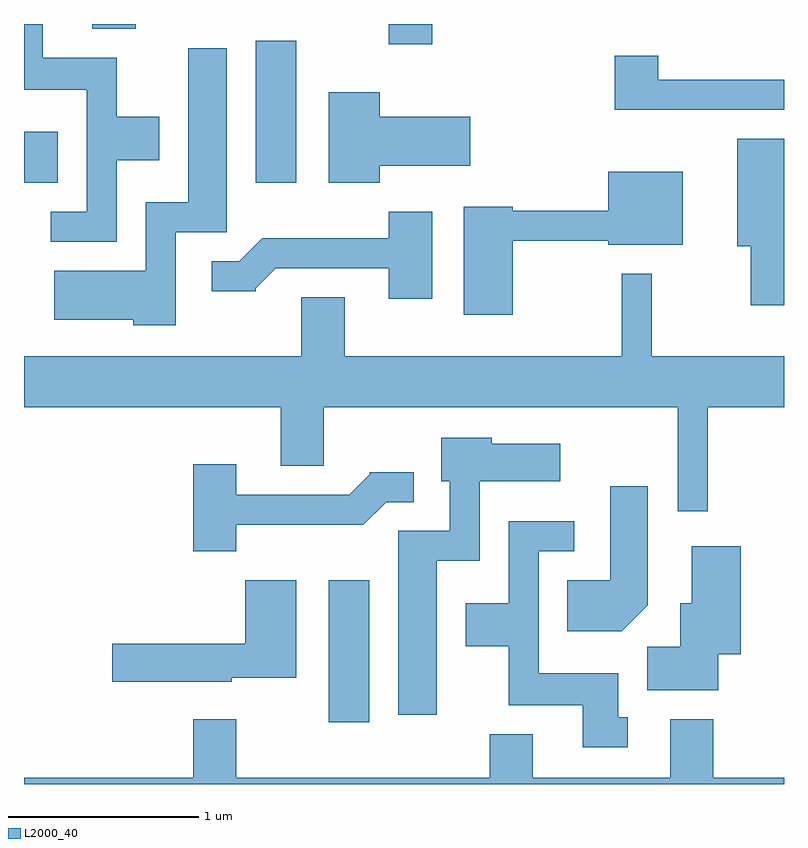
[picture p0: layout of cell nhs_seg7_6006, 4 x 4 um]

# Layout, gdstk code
import gdstk
lib = gdstk.Library(unit=1e-6, precision=1e-09)
def R(c, l, rs):  # rectangles x0, y0, x1, y1
    for r in rs: c.add(gdstk.rectangle(r[:2], r[2:], *l))
def P(c, l, *ps):  # polygons
    for p in ps: c.add(gdstk.Polygon(p, *l))
L2000_40 = (2000, 40)

nhs_seg7_6006 = lib.new_cell('nhs_seg7_6006')
R(nhs_seg7_6006, L2000_40, [(369.216,1792.576,369.429,1793.324), (367.611,1795.416,367.789,1795.684), (368.831,1795.416,369.044,1796.164), (369.531,1796.146,369.759,1796.252), (367.971,1796.226,368.199,1796.252)])
P(nhs_seg7_6006, L2000_40, [(368.099,1795.536),(368.324,1795.536),(368.324,1795.764),(368.099,1795.764),(368.099,1796.074),(367.709,1796.074),(367.709,1796.252),(367.611,1796.252),(367.611,1795.906),(367.941,1795.906),(367.941,1795.264),(367.753,1795.264),(367.753,1795.106),(368.099,1795.106)],
  [(368.409,1795.156),(368.679,1795.156),(368.679,1796.124),(368.476,1796.124),(368.476,1795.314),(368.251,1795.314),(368.251,1794.954),(367.771,1794.954),(367.771,1794.696),(368.186,1794.696),(368.186,1794.666),(368.409,1794.666)],
  [(371.611,1795.959),(370.949,1795.959),(370.949,1796.084),(370.721,1796.084),(370.721,1795.801),(371.611,1795.801)],
  [(369.484,1795.506),(369.959,1795.506),(369.959,1795.764),(369.484,1795.764),(369.484,1795.894),(369.216,1795.894),(369.216,1795.416),(369.484,1795.416)],
  [(371.611,1795.649),(371.366,1795.649),(371.366,1795.081),(371.436,1795.081),(371.436,1794.771),(371.611,1794.771)],
  [(370.184,1795.111),(370.686,1795.111),(370.686,1795.091),(371.079,1795.091),(371.079,1795.474),(370.686,1795.474),(370.686,1795.269),(370.184,1795.269),(370.184,1795.289),(369.926,1795.289),(369.926,1794.721),(370.184,1794.721)],
  [(369.759,1795.264),(369.531,1795.264),(369.531,1795.124),(368.864,1795.124),(368.744,1795.004),(368.598,1795.004),(368.598,1794.846),(368.83,1794.846),(368.83,1794.86),(368.937,1794.966),(369.531,1794.966),(369.531,1794.806),(369.759,1794.806)],
  [(371.209,1794.236),(371.611,1794.236),(371.611,1794.504),(370.914,1794.504),(370.914,1794.938),(370.756,1794.938),(370.756,1794.504),(369.299,1794.504),(369.299,1794.814),(369.071,1794.814),(369.071,1794.504),(367.611,1794.504),(367.611,1794.236),(368.961,1794.236),(368.961,1793.926),(369.189,1793.926),(369.189,1794.236),(371.051,1794.236),(371.051,1793.688),(371.209,1793.688)],
  [(369.784,1793.426),(370.009,1793.426),(370.009,1793.846),(370.434,1793.846),(370.434,1794.044),(370.074,1794.044),(370.074,1794.074),(369.806,1794.074),(369.806,1793.846),(369.851,1793.846),(369.851,1793.584),(369.581,1793.584),(369.581,1792.616),(369.784,1792.616)],
  [(368.729,1793.616),(369.397,1793.616),(369.517,1793.736),(369.663,1793.736),(369.663,1793.894),(369.43,1793.894),(369.43,1793.881),(369.324,1793.774),(368.729,1793.774),(368.729,1793.934),(368.501,1793.934),(368.501,1793.476),(368.729,1793.476)],
  [(370.894,1793.194),(370.894,1793.819),(370.696,1793.819),(370.696,1793.324),(370.471,1793.324),(370.471,1793.056),(370.757,1793.056)],
  [(370.788,1792.604),(370.739,1792.604),(370.739,1792.834),(370.319,1792.834),(370.319,1793.476),(370.508,1793.476),(370.508,1793.634),(370.161,1793.634),(370.161,1793.204),(369.936,1793.204),(369.936,1792.976),(370.161,1792.976),(370.161,1792.666),(370.551,1792.666),(370.551,1792.446),(370.788,1792.446)],
  [(371.264,1792.936),(371.384,1792.936),(371.384,1793.504),(371.126,1793.504),(371.126,1793.204),(371.066,1793.204),(371.066,1792.974),(370.891,1792.974),(370.891,1792.746),(371.264,1792.746)],
  [(368.704,1792.811),(369.044,1792.811),(369.044,1793.324),(368.776,1793.324),(368.776,1792.989),(368.076,1792.989),(368.076,1792.791),(368.704,1792.791)],
  [(371.611,1792.284),(371.239,1792.284),(371.239,1792.594),(371.011,1792.594),(371.011,1792.284),(370.289,1792.284),(370.289,1792.514),(370.061,1792.514),(370.061,1792.284),(368.729,1792.284),(368.729,1792.594),(368.501,1792.594),(368.501,1792.284),(367.611,1792.284),(367.611,1792.252),(371.611,1792.252)])

lib.write_gds('nhs_seg7_6006.gds')
